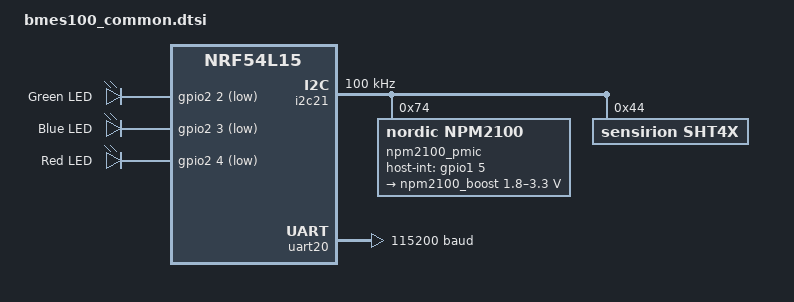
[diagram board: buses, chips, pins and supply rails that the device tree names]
/*
 * Copyright (c) 2024 Nordic Semiconductor ASA
 * SPDX-License-Identifier: Apache-2.0
 */

#include <zephyr/dt-bindings/gpio/gpio.h>
#include <zephyr/dt-bindings/regulator/npm2100.h>

#include "bmes100_nrf54l15-pinctrl.dtsi"


&i2c21 {
	status = "okay";
	pinctrl-0 = <&i2c21_default>;
	pinctrl-1 = <&i2c21_sleep>;
	pinctrl-names = "default", "sleep";
	clock-frequency = <I2C_BITRATE_STANDARD>;
};

&uart20 {
	status = "okay";
	pinctrl-0 = <&uart20_default>;
	pinctrl-1 = <&uart20_sleep>;
	pinctrl-names = "default", "sleep";
	current-speed = <115200>;
};

/ {
	board_revision_vcc: board_revision_vcc {
		gpios = <&gpio2 5 GPIO_ACTIVE_HIGH>;
	};

	board_revision: board_revision {
		gpios = <&gpio1 6 GPIO_ACTIVE_HIGH>;
	};

	leds {
		compatible = "gpio-leds";

		led_green: led_green {
			gpios = <&gpio2 2 GPIO_ACTIVE_LOW>;
			label = "Green LED";
		};
		led_blue: led_blue {
			gpios = <&gpio2 3 GPIO_ACTIVE_LOW>;
			label = "Blue LED";
		};
		led_red: led_red {
			gpios = <&gpio2 4 GPIO_ACTIVE_LOW>;
			label = "Red LED";
		};
	};

	aliases {
		led0 = &led_green;
		led1 = &led_red;
		led2 = &led_blue;
		pwm-led0 = &led_green;
		// sw0 = &button0;
	};
};

&i2c21 {
	npm2100_pmic: pmic@74 {
		compatible = "nordic,npm2100";
		reg = <0x74>;

		pmic-int-pin = <1>;
		pmic-int-flags = <GPIO_ACTIVE_HIGH>;
		host-int-type = "level";
		shiphold-longpress = "reset";

		/* Board specific mapping */
		host-int-gpios = <&gpio1 5 GPIO_ACTIVE_HIGH>;
		
		npm2100_gpio: gpio-controller {
			compatible = "nordic,npm2100-gpio";
			gpio-controller;
			#gpio-cells = <2>;
			ngpios = <2>;
		};

		npm2100_regulators: regulators {
			compatible = "nordic,npm2100-regulator";

			npm2100_boost: BOOST {
				regulator-min-microvolt = <1800000>;
				regulator-max-microvolt = <3300000>;
				regulator-init-microamp = <0>;
				// regulator-init-microvolt = <3050000>;
				regulator-always-on;
				// regulator-initial-mode = <(NPM2100_REG_OPER_AUTO | NPM2100_REG_DPS_ALLOWLP)>;
			};

			npm2100_ldosw: LDOSW {
				status = "disabled";
			};
		};

		npm2100ek_wdt: watchdog {
			compatible = "nordic,npm2100-wdt";
			status = "disabled";
		};

		npm2100_vbat: vbat {
			compatible = "nordic,npm2100-vbat";
		};
	};

	sht4x@44 {
		status = "okay";
		compatible = "sensirion,sht4x";
		reg = <0x44>;
		repeatability = <2>;
	};
};

&uicr {
	nfct-pins-as-gpios;
};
